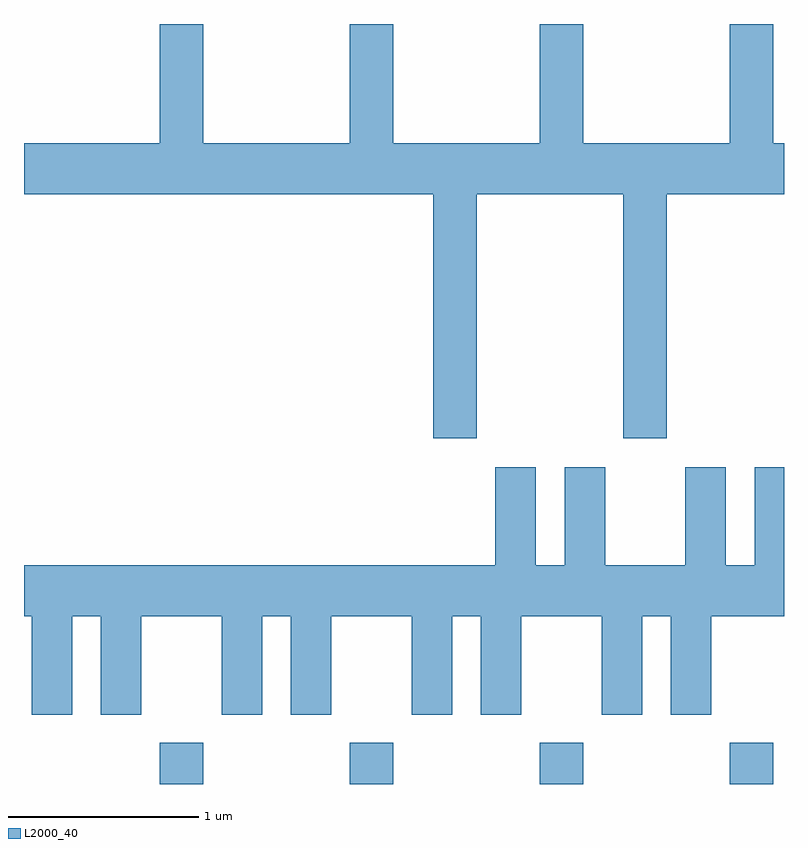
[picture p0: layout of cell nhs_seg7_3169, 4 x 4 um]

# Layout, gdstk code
import gdstk
lib = gdstk.Library(unit=1e-6, precision=1e-09)
def R(c, l, rs):  # rectangles x0, y0, x1, y1
    for r in rs: c.add(gdstk.rectangle(r[:2], r[2:], *l))
def A(c, l, x, y, w, h, nx, ny, dx, dy):  # array of equal rectangles
    R(c, l, [(x+i*dx, y+j*dy, x+i*dx+w, y+j*dy+h) for i in range(nx) for j in range(ny)])
def P(c, l, *ps):  # polygons
    for p in ps: c.add(gdstk.Polygon(p, *l))
L2000_40 = (2000, 40)

nhs_seg7_3169 = lib.new_cell('nhs_seg7_3169')
A(nhs_seg7_3169, L2000_40, 282.326, 1782.252, 0.228, 0.217, 4, 1, 1, 0)
P(nhs_seg7_3169, L2000_40, [(283.994,1785.356),(284.766,1785.356),(284.766,1784.071),(284.994,1784.071),(284.994,1785.356),(285.611,1785.356),(285.611,1785.624),(285.554,1785.624),(285.554,1786.252),(285.326,1786.252),(285.326,1785.624),(284.554,1785.624),(284.554,1786.252),(284.326,1786.252),(284.326,1785.624),(283.554,1785.624),(283.554,1786.252),(283.326,1786.252),(283.326,1785.624),(282.554,1785.624),(282.554,1786.252),(282.326,1786.252),(282.326,1785.624),(281.611,1785.624),(281.611,1785.356),(283.766,1785.356),(283.766,1784.071),(283.994,1784.071)],
  [(281.864,1783.136),(282.016,1783.136),(282.016,1782.616),(282.229,1782.616),(282.229,1783.136),(282.651,1783.136),(282.651,1782.616),(282.864,1782.616),(282.864,1783.136),(283.016,1783.136),(283.016,1782.616),(283.229,1782.616),(283.229,1783.136),(283.651,1783.136),(283.651,1782.616),(283.864,1782.616),(283.864,1783.136),(284.016,1783.136),(284.016,1782.616),(284.229,1782.616),(284.229,1783.136),(284.651,1783.136),(284.651,1782.616),(284.864,1782.616),(284.864,1783.136),(285.016,1783.136),(285.016,1782.616),(285.229,1782.616),(285.229,1783.136),(285.611,1783.136),(285.611,1783.919),(285.456,1783.919),(285.456,1783.404),(285.304,1783.404),(285.304,1783.919),(285.091,1783.919),(285.091,1783.404),(284.669,1783.404),(284.669,1783.919),(284.456,1783.919),(284.456,1783.404),(284.304,1783.404),(284.304,1783.919),(284.091,1783.919),(284.091,1783.404),(281.611,1783.404),(281.611,1783.136),(281.651,1783.136),(281.651,1782.616),(281.864,1782.616)])

lib.write_gds('nhs_seg7_3169.gds')
